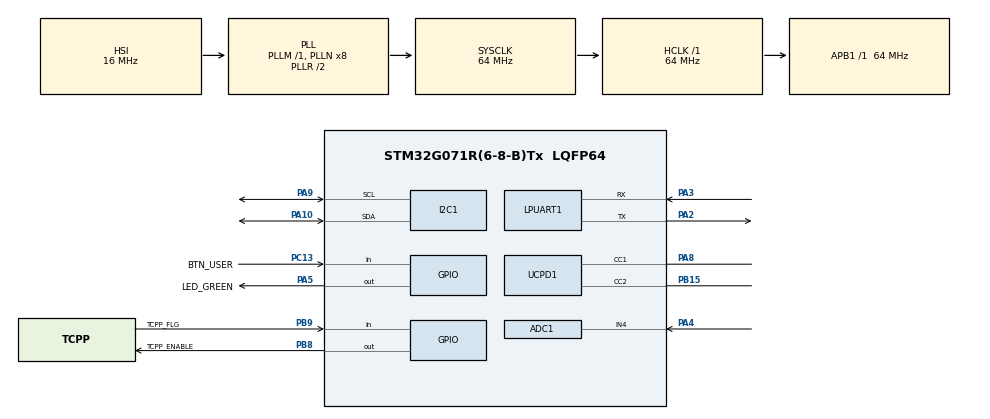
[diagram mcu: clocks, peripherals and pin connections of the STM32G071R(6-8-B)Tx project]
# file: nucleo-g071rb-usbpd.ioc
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ADC1.Channel-1\#ChannelRegularConversion=ADC_CHANNEL_4
ADC1.NbrOfConversionFlag=1
ADC1.Rank-1\#ChannelRegularConversion=1
ADC1.SamplingTime-1\#ChannelRegularConversion=ADC_SAMPLINGTIME_COMMON_1
ADC1.SelectedChannel=ADC_CHANNEL_4
ADC1.master=1
Dma.Request0=UCPD1_TX
Dma.Request1=UCPD1_RX
Dma.UCPD1_RX.1.Direction=DMA_PERIPH_TO_MEMORY
Dma.UCPD1_RX.1.EventEnable=DISABLE
Dma.UCPD1_RX.1.Instance=DMA1_Channel2
Dma.UCPD1_RX.1.MemDataAlignment=DMA_MDATAALIGN_BYTE
Dma.UCPD1_RX.1.MemInc=DMA_MINC_ENABLE
Dma.UCPD1_RX.1.Mode=DMA_NORMAL
Dma.UCPD1_RX.1.PeriphDataAlignment=DMA_PDATAALIGN_BYTE
Dma.UCPD1_RX.1.PeriphInc=DMA_PINC_DISABLE
Dma.UCPD1_RX.1.Polarity=HAL_DMAMUX_REQ_GEN_RISING
Dma.UCPD1_RX.1.Priority=DMA_PRIORITY_LOW
Dma.UCPD1_RX.1.RequestNumber=1
Dma.UCPD1_RX.1.SignalID=NONE
Dma.UCPD1_RX.1.SyncEnable=DISABLE
Dma.UCPD1_RX.1.SyncPolarity=HAL_DMAMUX_SYNC_NO_EVENT
Dma.UCPD1_RX.1.SyncRequestNumber=1
Dma.UCPD1_RX.1.SyncSignalID=NONE
Dma.UCPD1_TX.0.Direction=DMA_MEMORY_TO_PERIPH
Dma.UCPD1_TX.0.EventEnable=DISABLE
Dma.UCPD1_TX.0.Instance=DMA1_Channel4
Dma.UCPD1_TX.0.MemDataAlignment=DMA_MDATAALIGN_BYTE
Dma.UCPD1_TX.0.MemInc=DMA_MINC_ENABLE
Dma.UCPD1_TX.0.Mode=DMA_NORMAL
Dma.UCPD1_TX.0.PeriphDataAlignment=DMA_PDATAALIGN_BYTE
Dma.UCPD1_TX.0.PeriphInc=DMA_PINC_DISABLE
Dma.UCPD1_TX.0.Polarity=HAL_DMAMUX_REQ_GEN_RISING
Dma.UCPD1_TX.0.Priority=DMA_PRIORITY_LOW
Dma.UCPD1_TX.0.RequestNumber=1
Dma.UCPD1_TX.0.SignalID=NONE
Dma.UCPD1_TX.0.SyncEnable=DISABLE
Dma.UCPD1_TX.0.SyncPolarity=HAL_DMAMUX_SYNC_NO_EVENT
Dma.UCPD1_TX.0.SyncRequestNumber=1
Dma.UCPD1_TX.0.SyncSignalID=NONE
FREERTOS.Tasks01=defaultTask,0,128,StartDefaultTask,Default,NULL
FREERTOS.configTOTAL_HEAP_SIZE=7000
I2C1.Timing=0x10B17DB5
LPUART1.VirtualMode=VM_ASYNC
Mcu.Family=STM32G0
Mcu.Name=STM32G071R(6-8-B)Tx
Mcu.Package=LQFP64
NVIC.DMA1_Ch4_7_DMAMUX1_OVR_IRQn=true\:0\:0\:false\:false\:true\:false\:false\:true\:true
NVIC.DMA1_Channel2_3_IRQn=true\:0\:0\:false\:false\:true\:false\:false\:true\:true
NVIC.UCPD1_2_IRQn=true\:3\:0\:false\:false\:true\:true\:true\:false\:true
PA10.Mode=I2C
PA10.Signal=I2C1_SDA
PA2.Mode=Asynchronous
PA2.Signal=LPUART1_TX
PA3.Mode=Asynchronous
PA3.Signal=LPUART1_RX
PA4.Mode=IN4
PA4.Signal=ADC1_IN4
PA5.GPIO_Label=LED_GREEN
PA5.Signal=GPIO_Output
PA8.Mode=Source_AllSignals
PA8.Signal=UCPD1_CC1
PA9.GPIO_Pu=GPIO_PULLUP
PA9.Mode=I2C
PA9.Signal=I2C1_SCL
PB15.Mode=Source_AllSignals
PB15.Signal=UCPD1_CC2
PB8.GPIO_Label=TCPP_ENABLE
PB8.Signal=GPIO_Output
PB9.GPIO_Label=TCPP_FLG
PB9.Signal=GPIO_Input
PC13.GPIO_Label=BTN_USER
PC13.GPIO_PuPd=GPIO_NOPULL
PC13.Signal=GPIO_Input
ProjectManager.HeapSize=0x200
ProjectManager.StackSize=0x400
ProjectManager.TargetToolchain=EWARM V8.50
RCC.ADCFreq_Value=64000000
RCC.AHBFreq_Value=64000000
RCC.APB1Freq_Value=64000000
RCC.CortexFreq_Value=64000000
RCC.EXTERNAL_CLOCK_VALUE=48000
RCC.HCLKFreq_Value=64000000
RCC.HSE_VALUE=8000000
RCC.HSI_VALUE=16000000
RCC.LSE_VALUE=32768
RCC.PLLM=RCC_PLLM_DIV1
RCC.PLLN=8
RCC.PLLP=RCC_PLLP_DIV2
RCC.PLLR=RCC_PLLR_DIV2
RCC.PLLSourceVirtual=RCC_PLLSOURCE_HSI
RCC.SYSCLKFreq_VALUE=64000000
RCC.SYSCLKSource=RCC_SYSCLKSOURCE_PLLCLK
RCC.VCOOutputFreq_Value=128000000
STMicroelectronics.X-CUBE-TCPP.4.2.0.USBPDOoApplicationCcDeviceJjApplication=Source
STMicroelectronics.X-CUBE-TCPP.4.2.0.XAaNUCLEOAaSRC1M1CcBoardOoSupportJjXAaNUCLEOAaSRC1M1JjCommon=true
STMicroelectronics.X-CUBE-TCPP.4.2.0.tcpp0203CcBoardOoPartJjtcpp0203Jjtcpp0203=true
USBPD.USBPD_PORT0_PDO_SRC_FIXED_SET_MAX_CURRENT_0=900
USBPD.USBPD_PORT0_PDO_SRC_NB=1
VP_FREERTOS_VS_CMSIS_V1.Mode=CMSIS_V1
VP_STMicroelectronics.X-CUBE-TCPP_VS_BoardOoPartJjtcpp0203_1.2.3_4.2.0.Mode=BoardOoPartJjtcpp0203
VP_STMicroelectronics.X-CUBE-TCPP_VS_BoardOoSupportJjXAaNUCLEOAaSRC1M1_1.2.1_4.2.0.Mode=BoardOoSupportJjXAaNUCLEOAaSRC1M1
VP_STMicroelectronics.X-CUBE-TCPP_VS_DeviceJjUSBPDOoApplication_4.2.0_4.2.0.Mode=DeviceJjUSBPDOoApplication
VP_USBPD_VS_PD3FULL.Mode=PD3_Full_Stack
VP_USBPD_VS_USBPD1.Mode=USBPD_P0
VP_USBPD_VS_usbpd_tim1.Mode=TIM1
board=custom

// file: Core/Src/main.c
/* USER CODE BEGIN Header */
/**
  ******************************************************************************
  * @file           : main.c
  * @brief          : Main program body
  ******************************************************************************
  * @attention
  *
  * Copyright (c) 2026 STMicroelectronics.
  * All rights reserved.
  *
  * This software is licensed under terms that can be found in the LICENSE file
  * in the root directory of this software component.
  * If no LICENSE file comes with this software, it is provided AS-IS.
  *
  ******************************************************************************
  */
/* USER CODE END Header */
#include "main.h"
#include "cmsis_os.h"
#include "app_tcpp.h"
#include "usbpd.h"
#include "usbpd_vdm_user.h"

/* USER CODE BEGIN Includes */
#include <stdarg.h>
#include "FreeRTOS.h"
#include "task.h"
/* USER CODE END Includes */

ADC_HandleTypeDef hadc1;

I2C_HandleTypeDef hi2c1;

UART_HandleTypeDef hlpuart1;

osThreadId defaultTaskHandle;

void SystemClock_Config(void);
static void MX_GPIO_Init(void);
static void MX_DMA_Init(void);
static void MX_LPUART1_UART_Init(void);
static void MX_UCPD1_Init(void);
static void MX_ADC1_Init(void);
static void MX_I2C1_Init(void);
void StartDefaultTask(void const * argument);

/* USER CODE BEGIN 0 */
/* Custom strlen - no libc dependency */
static int my_strlen(const char *s)
{
  int len = 0;
  while (s[len]) len++;
  return len;
}

void dbg_print(const char *str)
{
  HAL_UART_Transmit(&hlpuart1, (const uint8_t *)str, my_strlen(str), 1000);
}

/* Minimal printf - supports %d, %x, %s only. No libc needed. */
void dbg_printf(const char *fmt, ...)
{
  va_list ap;
  va_start(ap, fmt);
  char buf[128];
  int pos = 0;

  while (*fmt && pos < (int)sizeof(buf) - 1)
  {
    if (*fmt == '%')
    {
      fmt++;
      if (*fmt == 'd')
      {
        int val = va_arg(ap, int);
        char tmp[12];
        int ti = 0;
        unsigned int uval;
        if (val < 0) { buf[pos++] = '-'; uval = (unsigned int)(-val); }
        else { uval = (unsigned int)val; }
        if (uval == 0) { tmp[ti++] = '0'; }
        else { while (uval > 0 && ti < 11) { tmp[ti++] = '0' + (uval % 10); uval /= 10; } }
        while (ti > 0 && pos < (int)sizeof(buf) - 1) { buf[pos++] = tmp[--ti]; }
      }
      else if (*fmt == 'x' || *fmt == 'X')
      {
        unsigned int val = va_arg(ap, unsigned int);
        char tmp[9];
        int ti = 0;
        if (val == 0) { tmp[ti++] = '0'; }
        else { while (val > 0 && ti < 8) { tmp[ti++] = "0123456789ABCDEF"[val & 0xF]; val >>= 4; } }
        while (ti > 0 && pos < (int)sizeof(buf) - 1) { buf[pos++] = tmp[--ti]; }
      }
      else if (*fmt == 's')
      {
        const char *s = va_arg(ap, const char *);
        while (*s && pos < (int)sizeof(buf) - 1) { buf[pos++] = *s++; }
      }
      else if (*fmt == '%')
      {
        buf[pos++] = '%';
      }
      fmt++;
    }
    else
    {
      buf[pos++] = *fmt++;
    }
  }

  va_end(ap);
  if (pos > 0)
  {
    HAL_UART_Transmit(&hlpuart1, (const uint8_t *)buf, pos, 1000);
  }
}
/* USER CODE END 0 */

int main(void)
{

  /* MCU Configuration--------------------------------------------------------*/

  /* Reset of all peripherals, Initializes the Flash interface and the Systick. */
  HAL_Init();

  /* Configure the system clock */
  SystemClock_Config();

  /* Initialize all configured peripherals */
  MX_GPIO_Init();
  MX_DMA_Init();
  MX_LPUART1_UART_Init();
  MX_UCPD1_Init();
  MX_ADC1_Init();
  MX_I2C1_Init();
  MX_TCPP_Init();
  /* USER CODE BEGIN 2 */
  dbg_print("\r\n=== STM32 USB-PD VDM Demo ===\r\n");
  /* USER CODE END 2 */

  /* USBPD initialisation ---------------------------------*/
  /* Moving USBPD Init after osKernelInitialize as it creates RTOS objects */
  dbg_print("Initializing USBPD stack...\r\n");
  MX_USBPD_Init();

  /* Create the thread(s) */
  /* definition and creation of defaultTask */
  osThreadDef(defaultTask, StartDefaultTask, osPriorityNormal, 0, 512);
  defaultTaskHandle = osThreadCreate(osThread(defaultTask), NULL);
  if (defaultTaskHandle == NULL)
  {
    dbg_print("RTOS: Failed to create default task!\r\n");
  }

  extern void *pxCurrentTCB;
  extern size_t xPortGetFreeHeapSize(void);
  dbg_printf("RTOS: pxCurrentTCB=%p, FreeHeap=%u\r\n", pxCurrentTCB, (unsigned int)xPortGetFreeHeapSize());

  /* Start scheduler */
  dbg_print("RTOS: Starting scheduler...\r\n");
  osKernelStart();

  /* We should never get here as control is now taken by the scheduler */

  /* Infinite loop */
  while (1)
  {

  }
}

void SystemClock_Config(void)
{
  RCC_OscInitTypeDef RCC_OscInitStruct = {0};
  RCC_ClkInitTypeDef RCC_ClkInitStruct = {0};

  /** Configure the main internal regulator output voltage
  */
  HAL_PWREx_ControlVoltageScaling(PWR_REGULATOR_VOLTAGE_SCALE1);

  /** Initializes the RCC Oscillators according to the specified parameters
  * in the RCC_OscInitTypeDef structure.
  */
  RCC_OscInitStruct.OscillatorType = RCC_OSCILLATORTYPE_HSI;
  RCC_OscInitStruct.HSIState = RCC_HSI_ON;
  RCC_OscInitStruct.HSIDiv = RCC_HSI_DIV1;
  RCC_OscInitStruct.HSICalibrationValue = RCC_HSICALIBRATION_DEFAULT;
  RCC_OscInitStruct.PLL.PLLState = RCC_PLL_ON;
  RCC_OscInitStruct.PLL.PLLSource = RCC_PLLSOURCE_HSI;
  RCC_OscInitStruct.PLL.PLLM = RCC_PLLM_DIV1;
  RCC_OscInitStruct.PLL.PLLN = 8;
  RCC_OscInitStruct.PLL.PLLP = RCC_PLLP_DIV2;
  RCC_OscInitStruct.PLL.PLLQ = RCC_PLLQ_DIV2;
  RCC_OscInitStruct.PLL.PLLR = RCC_PLLR_DIV2;
  if (HAL_RCC_OscConfig(&RCC_OscInitStruct) != HAL_OK)
  {
    Error_Handler();
  }

  /** Initializes the CPU, AHB and APB buses clocks
  */
  RCC_ClkInitStruct.ClockType = RCC_CLOCKTYPE_HCLK|RCC_CLOCKTYPE_SYSCLK
                              |RCC_CLOCKTYPE_PCLK1;
  RCC_ClkInitStruct.SYSCLKSource = RCC_SYSCLKSOURCE_PLLCLK;
  RCC_ClkInitStruct.AHBCLKDivider = RCC_SYSCLK_DIV1;
  RCC_ClkInitStruct.APB1CLKDivider = RCC_HCLK_DIV1;

  if (HAL_RCC_ClockConfig(&RCC_ClkInitStruct, FLASH_LATENCY_2) != HAL_OK)
  {
    Error_Handler();
  }
}

static void MX_ADC1_Init(void)
{

  ADC_ChannelConfTypeDef sConfig = {0};

  /** Configure the global features of the ADC (Clock, Resolution, Data Alignment and number of conversion)
  */
  hadc1.Instance = ADC1;
  hadc1.Init.ClockPrescaler = ADC_CLOCK_SYNC_PCLK_DIV2;
  hadc1.Init.Resolution = ADC_RESOLUTION_12B;
  hadc1.Init.DataAlign = ADC_DATAALIGN_RIGHT;
  hadc1.Init.ScanConvMode = ADC_SCAN_DISABLE;
  hadc1.Init.EOCSelection = ADC_EOC_SINGLE_CONV;
  hadc1.Init.LowPowerAutoWait = DISABLE;
  hadc1.Init.LowPowerAutoPowerOff = DISABLE;
  hadc1.Init.ContinuousConvMode = DISABLE;
  hadc1.Init.NbrOfConversion = 1;
  hadc1.Init.DiscontinuousConvMode = DISABLE;
  hadc1.Init.ExternalTrigConv = ADC_SOFTWARE_START;
  hadc1.Init.ExternalTrigConvEdge = ADC_EXTERNALTRIGCONVEDGE_NONE;
  hadc1.Init.DMAContinuousRequests = DISABLE;
  hadc1.Init.Overrun = ADC_OVR_DATA_PRESERVED;
  hadc1.Init.SamplingTimeCommon1 = ADC_SAMPLETIME_1CYCLE_5;
  hadc1.Init.SamplingTimeCommon2 = ADC_SAMPLETIME_1CYCLE_5;
  hadc1.Init.OversamplingMode = DISABLE;
  hadc1.Init.TriggerFrequencyMode = ADC_TRIGGER_FREQ_HIGH;
  if (HAL_ADC_Init(&hadc1) != HAL_OK)
  {
    Error_Handler();
  }

  /** Configure Regular Channel
  */
  sConfig.Channel = ADC_CHANNEL_4;
  sConfig.Rank = ADC_REGULAR_RANK_1;
  sConfig.SamplingTime = ADC_SAMPLINGTIME_COMMON_1;
  if (HAL_ADC_ConfigChannel(&hadc1, &sConfig) != HAL_OK)
  {
    Error_Handler();
  }

}

static void MX_I2C1_Init(void)
{

  hi2c1.Instance = I2C1;
  hi2c1.Init.Timing = 0x10B17DB5;
  hi2c1.Init.OwnAddress1 = 0;
  hi2c1.Init.AddressingMode = I2C_ADDRESSINGMODE_7BIT;
  hi2c1.Init.DualAddressMode = I2C_DUALADDRESS_DISABLE;
  hi2c1.Init.OwnAddress2 = 0;
  hi2c1.Init.OwnAddress2Masks = I2C_OA2_NOMASK;
  hi2c1.Init.GeneralCallMode = I2C_GENERALCALL_DISABLE;
  hi2c1.Init.NoStretchMode = I2C_NOSTRETCH_DISABLE;
  if (HAL_I2C_Init(&hi2c1) != HAL_OK)
  {
    Error_Handler();
  }

  /** Configure Analogue filter
  */
  if (HAL_I2CEx_ConfigAnalogFilter(&hi2c1, I2C_ANALOGFILTER_ENABLE) != HAL_OK)
  {
    Error_Handler();
  }

  /** Configure Digital filter
  */
  if (HAL_I2CEx_ConfigDigitalFilter(&hi2c1, 0) != HAL_OK)
  {
    Error_Handler();
  }

}

static void MX_LPUART1_UART_Init(void)
{

  hlpuart1.Instance = LPUART1;
  hlpuart1.Init.BaudRate = 115200;
  hlpuart1.Init.WordLength = UART_WORDLENGTH_8B;
  hlpuart1.Init.StopBits = UART_STOPBITS_1;
  hlpuart1.Init.Parity = UART_PARITY_NONE;
  hlpuart1.Init.Mode = UART_MODE_TX_RX;
  hlpuart1.Init.HwFlowCtl = UART_HWCONTROL_NONE;
  hlpuart1.Init.OneBitSampling = UART_ONE_BIT_SAMPLE_DISABLE;
  hlpuart1.Init.ClockPrescaler = UART_PRESCALER_DIV1;
  hlpuart1.AdvancedInit.AdvFeatureInit = UART_ADVFEATURE_NO_INIT;
  hlpuart1.FifoMode = UART_FIFOMODE_DISABLE;
  if (HAL_UART_Init(&hlpuart1) != HAL_OK)
  {
    Error_Handler();
  }
  if (HAL_UARTEx_SetTxFifoThreshold(&hlpuart1, UART_TXFIFO_THRESHOLD_1_8) != HAL_OK)
  {
    Error_Handler();
  }
  if (HAL_UARTEx_SetRxFifoThreshold(&hlpuart1, UART_RXFIFO_THRESHOLD_1_8) != HAL_OK)
  {
    Error_Handler();
  }
  if (HAL_UARTEx_DisableFifoMode(&hlpuart1) != HAL_OK)
  {
    Error_Handler();
  }

}

static void MX_UCPD1_Init(void)
{

  LL_GPIO_InitTypeDef GPIO_InitStruct = {0};

  /* Peripheral clock enable */
  LL_APB1_GRP1_EnableClock(LL_APB1_GRP1_PERIPH_UCPD1);

  LL_IOP_GRP1_EnableClock(LL_IOP_GRP1_PERIPH_GPIOB);
  LL_IOP_GRP1_EnableClock(LL_IOP_GRP1_PERIPH_GPIOA);
  /**UCPD1 GPIO Configuration
  PB15   ------> UCPD1_CC2
  PA8   ------> UCPD1_CC1
  */
  GPIO_InitStruct.Pin = LL_GPIO_PIN_15;
  GPIO_InitStruct.Mode = LL_GPIO_MODE_ANALOG;
  GPIO_InitStruct.Pull = LL_GPIO_PULL_NO;
  LL_GPIO_Init(GPIOB, &GPIO_InitStruct);

  GPIO_InitStruct.Pin = LL_GPIO_PIN_8;
  GPIO_InitStruct.Mode = LL_GPIO_MODE_ANALOG;
  GPIO_InitStruct.Pull = LL_GPIO_PULL_NO;
  LL_GPIO_Init(GPIOA, &GPIO_InitStruct);

  /* UCPD1 DMA Init */

  /* UCPD1_TX Init */
  LL_DMA_SetPeriphRequest(DMA1, LL_DMA_CHANNEL_4, LL_DMAMUX_REQ_UCPD1_TX);

  LL_DMA_SetDataTransferDirection(DMA1, LL_DMA_CHANNEL_4, LL_DMA_DIRECTION_MEMORY_TO_PERIPH);

  LL_DMA_SetChannelPriorityLevel(DMA1, LL_DMA_CHANNEL_4, LL_DMA_PRIORITY_LOW);

  LL_DMA_SetMode(DMA1, LL_DMA_CHANNEL_4, LL_DMA_MODE_NORMAL);

  LL_DMA_SetPeriphIncMode(DMA1, LL_DMA_CHANNEL_4, LL_DMA_PERIPH_NOINCREMENT);

  LL_DMA_SetMemoryIncMode(DMA1, LL_DMA_CHANNEL_4, LL_DMA_MEMORY_INCREMENT);

  LL_DMA_SetPeriphSize(DMA1, LL_DMA_CHANNEL_4, LL_DMA_PDATAALIGN_BYTE);

  LL_DMA_SetMemorySize(DMA1, LL_DMA_CHANNEL_4, LL_DMA_MDATAALIGN_BYTE);

  /* UCPD1_RX Init */
  LL_DMA_SetPeriphRequest(DMA1, LL_DMA_CHANNEL_2, LL_DMAMUX_REQ_UCPD1_RX);

  LL_DMA_SetDataTransferDirection(DMA1, LL_DMA_CHANNEL_2, LL_DMA_DIRECTION_PERIPH_TO_MEMORY);

  LL_DMA_SetChannelPriorityLevel(DMA1, LL_DMA_CHANNEL_2, LL_DMA_PRIORITY_LOW);

  LL_DMA_SetMode(DMA1, LL_DMA_CHANNEL_2, LL_DMA_MODE_NORMAL);

  LL_DMA_SetPeriphIncMode(DMA1, LL_DMA_CHANNEL_2, LL_DMA_PERIPH_NOINCREMENT);

  LL_DMA_SetMemoryIncMode(DMA1, LL_DMA_CHANNEL_2, LL_DMA_MEMORY_INCREMENT);

  LL_DMA_SetPeriphSize(DMA1, LL_DMA_CHANNEL_2, LL_DMA_PDATAALIGN_BYTE);

  LL_DMA_SetMemorySize(DMA1, LL_DMA_CHANNEL_2, LL_DMA_MDATAALIGN_BYTE);

  /* UCPD1 interrupt Init */
  NVIC_SetPriority(UCPD1_2_IRQn, 3);
  NVIC_EnableIRQ(UCPD1_2_IRQn);

}

static void MX_DMA_Init(void)
{

  /* DMA controller clock enable */
  __HAL_RCC_DMA1_CLK_ENABLE();

  /* DMA interrupt init */
  /* DMA1_Channel2_3_IRQn interrupt configuration */
  NVIC_SetPriority(DMA1_Channel2_3_IRQn, 0);
  NVIC_EnableIRQ(DMA1_Channel2_3_IRQn);
  /* DMA1_Ch4_7_DMAMUX1_OVR_IRQn interrupt configuration */
  HAL_NVIC_SetPriority(DMA1_Ch4_7_DMAMUX1_OVR_IRQn, 0, 0);
  HAL_NVIC_EnableIRQ(DMA1_Ch4_7_DMAMUX1_OVR_IRQn);

}

static void MX_GPIO_Init(void)
{
  GPIO_InitTypeDef GPIO_InitStruct = {0};

  /* GPIO Ports Clock Enable */
  __HAL_RCC_GPIOC_CLK_ENABLE();
  __HAL_RCC_GPIOA_CLK_ENABLE();
  __HAL_RCC_GPIOB_CLK_ENABLE();

  /*Configure GPIO pin Output Level */
  HAL_GPIO_WritePin(LED_GREEN_GPIO_Port, LED_GREEN_Pin, GPIO_PIN_RESET);

  /*Configure GPIO pin Output Level */
  HAL_GPIO_WritePin(TCPP_ENABLE_GPIO_Port, TCPP_ENABLE_Pin, GPIO_PIN_RESET);

  /*Configure GPIO pin : BTN_USER_Pin */
  GPIO_InitStruct.Pin = BTN_USER_Pin;
  GPIO_InitStruct.Mode = GPIO_MODE_INPUT;
  GPIO_InitStruct.Pull = GPIO_PULLUP;
  HAL_GPIO_Init(BTN_USER_GPIO_Port, &GPIO_InitStruct);

  /*Configure GPIO pin : LED_GREEN_Pin */
  GPIO_InitStruct.Pin = LED_GREEN_Pin;
  GPIO_InitStruct.Mode = GPIO_MODE_OUTPUT_PP;
  GPIO_InitStruct.Pull = GPIO_NOPULL;
  GPIO_InitStruct.Speed = GPIO_SPEED_FREQ_LOW;
  HAL_GPIO_Init(LED_GREEN_GPIO_Port, &GPIO_InitStruct);

  /*Configure GPIO pin : TCPP_ENABLE_Pin */
  GPIO_InitStruct.Pin = TCPP_ENABLE_Pin;
  GPIO_InitStruct.Mode = GPIO_MODE_OUTPUT_PP;
  GPIO_InitStruct.Pull = GPIO_NOPULL;
  GPIO_InitStruct.Speed = GPIO_SPEED_FREQ_LOW;
  HAL_GPIO_Init(TCPP_ENABLE_GPIO_Port, &GPIO_InitStruct);

  /*Configure GPIO pin : TCPP_FLG_Pin */
  GPIO_InitStruct.Pin = TCPP_FLG_Pin;
  GPIO_InitStruct.Mode = GPIO_MODE_INPUT;
  GPIO_InitStruct.Pull = GPIO_NOPULL;
  HAL_GPIO_Init(TCPP_FLG_GPIO_Port, &GPIO_InitStruct);

}

void StartDefaultTask(void const * argument)
{
  /* USER CODE BEGIN 5 */
  uint32_t btn_press_start = 0;
  uint8_t btn_pressed = 0;

  dbg_print("Task: Default task started\r\n");
  dbg_printf("Heap free: %d bytes\r\n", (int)xPortGetFreeHeapSize());
  dbg_printf("Heap min : %d bytes\r\n", (int)xPortGetMinimumEverFreeHeapSize());

  /* Infinite loop */
  for(;;)
  {
    /* Poll User Button (Active Low on Nucleo) */
    if (HAL_GPIO_ReadPin(BTN_USER_GPIO_Port, BTN_USER_Pin) == GPIO_PIN_RESET)
    {
      if (!btn_pressed)
      {
        dbg_print("Button: Pressed\r\n");
        btn_press_start = HAL_GetTick();
        btn_pressed = 1;
      }
    }
    else
    {
      if (btn_pressed)
      {
        uint32_t duration = HAL_GetTick() - btn_press_start;
        if (duration > 2000)
        {
          /* Long press > 2s: DFU */
          dbg_print("Button: Long Press -> Apple DFU\r\n");
          USBPD_VDM_SendAppleCommand(USBPD_PORT_0, APPLE_ACTION_DFU);
        }
        else if (duration > 50)
        {
          /* Short press: Reboot */
          dbg_print("Button: Short Press -> Apple Reboot\r\n");
          USBPD_VDM_SendAppleCommand(USBPD_PORT_0, APPLE_ACTION_REBOOT);
        }
        btn_pressed = 0;
      }
    }
    if ((HAL_GetTick() % 5000) < 20)
    {
       /* Heartbeat every 5 seconds */
       GPIO_PinState pin_state = HAL_GPIO_ReadPin(BTN_USER_GPIO_Port, BTN_USER_Pin);
       dbg_printf("Task: Heartbeat. Button Pin State: %d\r\n", (int)pin_state);
       osDelay(20);
    }
    osDelay(10);
  }
  /* USER CODE END 5 */
}

void Error_Handler(void)
{
  /* USER CODE BEGIN Error_Handler_Debug */
  /* User can add his own implementation to report the HAL error return state */
  dbg_print("!!! Error_Handler called !!!\r\n");
  __disable_irq();
  while (1)
  {
  }
  /* USER CODE END Error_Handler_Debug */
}

void HardFault_Handler(void)
{
  __asm volatile (
    "  mov r0, lr                \n"
    "  movs r1, #4               \n"
    "  tst r0, r1                \n"
    "  beq use_msp               \n"
    "  mrs r0, psp               \n"
    "  b   call_dump             \n"
    "use_msp:                    \n"
    "  mrs r0, msp               \n"
    "call_dump:                  \n"
    "  bl HardFault_Dump         \n"
  );
}

void HardFault_Dump(uint32_t *stack)
{
  /* Capture core registers */
  uint32_t r0  = stack[0];
  uint32_t r1  = stack[1];
  uint32_t r2  = stack[2];
  uint32_t r3  = stack[3];
  uint32_t r12 = stack[4];
  uint32_t lr  = stack[5];
  uint32_t pc  = stack[6];
  uint32_t psr = stack[7];

  dbg_print("\r\n!!! HARD FAULT !!!\r\n");
  dbg_printf("  R0  : 0x%x\r\n", (unsigned int)r0);
  dbg_printf("  R1  : 0x%x\r\n", (unsigned int)r1);
  dbg_printf("  R2  : 0x%x\r\n", (unsigned int)r2);
  dbg_printf("  R3  : 0x%x\r\n", (unsigned int)r3);
  dbg_printf("  R12 : 0x%x\r\n", (unsigned int)r12);
  dbg_printf("  LR  : 0x%x\r\n", (unsigned int)lr);
  dbg_printf("  PC  : 0x%x\r\n", (unsigned int)pc);
  dbg_printf("  PSR : 0x%x\r\n", (unsigned int)psr);

  while (1) {}
}

void vApplicationStackOverflowHook(TaskHandle_t xTask, char *pcTaskName)
{
  (void)xTask;
  dbg_printf("!!! STACK OVERFLOW: %s !!!\r\n", pcTaskName);
  while (1) {}
}
